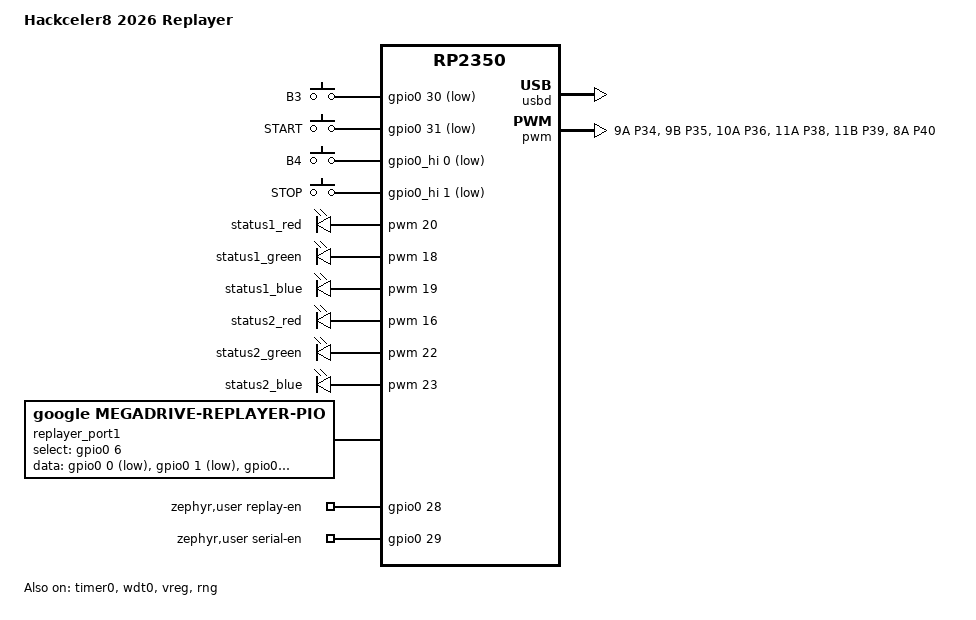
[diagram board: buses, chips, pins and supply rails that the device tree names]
/*
 * Copyright (c) 2026 Google LLC
 *
 * SPDX-License-Identifier: Apache-2.0
 */

/dts-v1/;

#include <raspberrypi/rpi_pico/rp2350b.dtsi>
#include <zephyr/dt-bindings/pinctrl/rpi-pico-rp2350b-pinctrl.h>
#include <raspberrypi/rpi_pico/m33.dtsi>
#include <freq.h>
#include <zephyr/dt-bindings/gpio/gpio.h>
#include <zephyr/dt-bindings/input/input-event-codes.h>
#include <zephyr/dt-bindings/led/led.h>
#include <zephyr/dt-bindings/pwm/pwm.h>
#include <raspberrypi/partitions_0x0_default_2M.dtsi>

/ {
	model = "Hackceler8 2026 Replayer";
	compatible = "google,hackceler8-2026-replayer", "raspberrypi,rp2350";

	chosen {
		zephyr,sram = &sram0;
		zephyr,flash = &flash0;
		zephyr,flash-controller = &qmi;
		zephyr,code-partition = &code_partition;
		zephyr,entropy = &rng;
	};

	aliases {
		watchdog0 = &wdt0;

		/* Pushbutton aliases */
		sw0 = &button_b3;
		sw1 = &button_start;
		sw2 = &button_b4;
		sw3 = &button_stop;

		/* Replayer alias */
		replayer0 = &replayer_port1;
	};

	/* Pushbuttons: B3, START, B4, STOP (Active Low with internal pull-up) */
	buttons {
		compatible = "gpio-keys";

		button_b3: button_b3 {
			gpios = <&gpio0 30 (GPIO_PULL_UP | GPIO_ACTIVE_LOW)>;
			label = "B3";
			zephyr,code = <INPUT_KEY_1>;
		};

		button_start: button_start {
			gpios = <&gpio0 31 (GPIO_PULL_UP | GPIO_ACTIVE_LOW)>;
			label = "START";
			zephyr,code = <INPUT_KEY_0>;
		};

		button_b4: button_b4 {
			gpios = <&gpio0_hi 0 (GPIO_PULL_UP | GPIO_ACTIVE_LOW)>;
			label = "B4";
			zephyr,code = <INPUT_KEY_2>;
		};

		button_stop: button_stop {
			gpios = <&gpio0_hi 1 (GPIO_PULL_UP | GPIO_ACTIVE_LOW)>;
			label = "STOP";
			zephyr,code = <INPUT_KEY_S>;
		};
	};

    /* RGB status LEDs */
	status1_pwm_leds: status1-pwm-leds {
	    compatible = "pwm-leds";
		status1_red: led-0 {
		    pwms = <&pwm 20 PWM_USEC(200) PWM_POLARITY_NORMAL>;
		};
		status1_green: led-1 {
		    pwms = <&pwm 18 PWM_USEC(200) PWM_POLARITY_NORMAL>;
		};
		status1_blue: led-2 {
		    pwms = <&pwm 19 PWM_USEC(200) PWM_POLARITY_NORMAL>;
		};
	};
	status2_pwm_leds: status2-pwm-leds {
	    compatible = "pwm-leds";
		status2_red: led-0 {
		    pwms = <&pwm 16 PWM_USEC(200) PWM_POLARITY_NORMAL>;
		};
		status2_green: led-1 {
		    pwms = <&pwm 22 PWM_USEC(200) PWM_POLARITY_NORMAL>;
		};
		status2_blue: led-2 {
		    pwms = <&pwm 23 PWM_USEC(200) PWM_POLARITY_NORMAL>;
		};
	};
	status_led1: status-led-1 {
	    compatible = "leds-group-multicolor";
		leds = <&status1_red>, <&status1_green>, <&status1_blue>;
		color-mapping = <LED_COLOR_ID_RED>, <LED_COLOR_ID_GREEN>, <LED_COLOR_ID_BLUE>;
	};
	status_led2: status-led-2 {
	    compatible = "leds-group-multicolor";
		leds = <&status2_red>, <&status2_green>, <&status2_blue>;
		color-mapping = <LED_COLOR_ID_RED>, <LED_COLOR_ID_GREEN>, <LED_COLOR_ID_BLUE>;
	};

	/* Sega Mega Drive Controller Port 1 PIO Replayer */
	replayer_port1: replayer_port1 {
		compatible = "google,megadrive-replayer-pio";
		pio = <&pio0>;
		select-gpios = <&gpio0 6 GPIO_ACTIVE_HIGH>;
		data-gpios = <&gpio0 0 GPIO_ACTIVE_LOW>,
			     <&gpio0 1 GPIO_ACTIVE_LOW>,
			     <&gpio0 2 GPIO_ACTIVE_LOW>,
			     <&gpio0 3 GPIO_ACTIVE_LOW>,
			     <&gpio0 4 GPIO_ACTIVE_LOW>,
			     <&gpio0 5 GPIO_ACTIVE_LOW>;
		status = "okay";
	};

	/* Application-specific GPIO definitions */
	zephyr,user {
		replay-en-gpios = <&gpio0 28 GPIO_ACTIVE_HIGH>;
		serial-en-gpios = <&gpio0 29 GPIO_ACTIVE_HIGH>;
	};
};

/* Internal 2MB QSPI Flash (RP2354B) */
&flash0 {
	reg = <0x10000000 DT_SIZE_M(2)>;
	ranges = <0x0 0x10000000 DT_SIZE_M(2)>;
};

/* Enable lower 32 GPIOs (GPIO 0-31) */
&gpio0 {
	status = "okay";
};

/* Enable upper 16 GPIOs (GPIO 32-47) */
&gpio0_hi {
	status = "okay";
};

/* Hardware Timer */
&timer0 {
	status = "okay";
};

/* Watchdog */
&wdt0 {
	status = "okay";
};

/* Core Voltage Regulator */
&vreg {
	status = "okay";
};

/* Hardware Random Number Generator */
&rng {
	status = "okay";
};

/* Programmable I/O (PIO) Blocks */
&pio0 {
	status = "okay";
};

&pio1 {
	status = "okay";
};

&pio2 {
	status = "okay";
};

/* USB 1.1 Device Controller (RP2350 internal PHY connected to USB-C) */
zephyr_udc0: &usbd {
	status = "okay";
};

/*
 * Configure the pin mux to give the PWM access to the LED pins.
 * Status1: GPIO34 G, GPIO35 B, GPIO36 R
 * Status2: GPIO38 G, GPIO39 B, GPIO40 R
 */
&pinctrl {
	pwm_rgb_default: pwm_rgb_default {
		group1 {
			pinmux = <PWM_9A_P34>, <PWM_9B_P35>, <PWM_10A_P36>,
			    <PWM_11A_P38>, <PWM_11B_P39>, <PWM_8A_P40>;
			/*
			 * The LEDs are on when the pins are low because they are connected
			 * to the cathodes.
			 */
			raspberrypi,out-override = <RP2_GPIO_OVERRIDE_INVERT>;
		};
	};
};

&pwm {
	status = "okay";
	pinctrl-0 = <&pwm_rgb_default>;
	pinctrl-names = "default";
};
